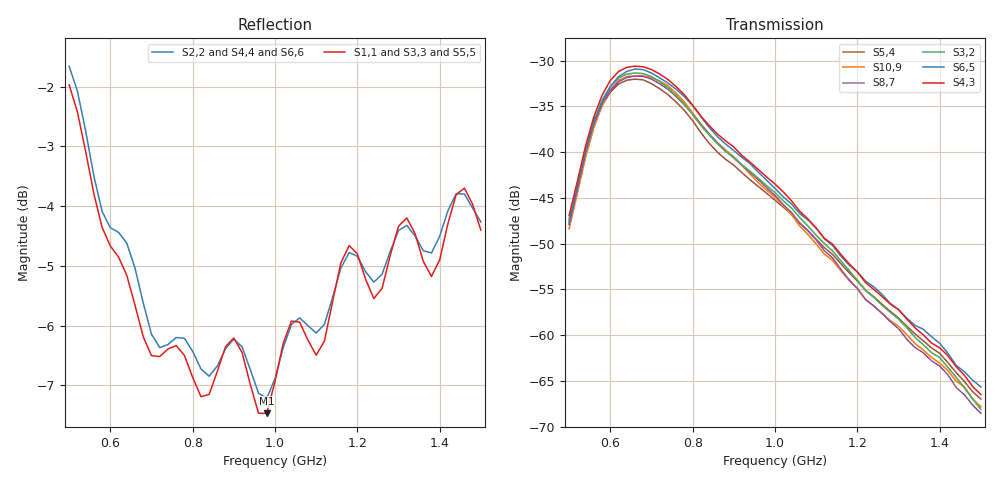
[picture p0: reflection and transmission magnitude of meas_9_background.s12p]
! Converted from meas_9_background.mat
! MATLAB 5.0 MAT-file, Platform: PCWIN64, Created on: Sat Nov 21 15:16:43 2026
! Ports 1-12 = antennas 1-12; IFBW=1000 Hz, power=0 dBm, doCalibration flag=1
! SW_A serial 12410080206: antennas 1 3 5 7 9 11
! SW_B serial 12410080235: antennas 2 4 6 8 10 12
! WARNING: Sij (i!=j) between two odd or two even ports was NOT MEASURED (NaN in source).
! Those entries are written as 0 0 placeholders. Do not treat them as data.
! Reference impedance 50 ohm is assumed (not stored in source).
# Hz S RI R 50
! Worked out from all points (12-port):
!   51 points, 500 MHz to 1.5 GHz, reference 50 ohm
!   strongest paths, dB at 500 MHz, 740 MHz, 1 GHz, 1.26 GHz, 1.5 GHz:
!     S4,3: -46.9, -32.1, -43.5, -55.8, -66.5
!     S6,5: -47.8, -32.5, -44.0, -55.5, -65.7
!     S3,2: -47.3, -33.0, -44.4, -56.7, -68.1
!     S8,7: -47.9, -33.1, -44.7, -57.7, -68.5
!     S10,9: -48.4, -32.8, -44.9, -57.6, -67.8
!     S5,4: -47.6, -33.7, -45.3, -56.6, -67.0
!   lowest |S11| = -7.5 dB at 980 MHz (marker M1), VSWR 2.47, Z = 26.9 - j25.3 ohm
!   |S11| at or under -10 dB: nowhere
